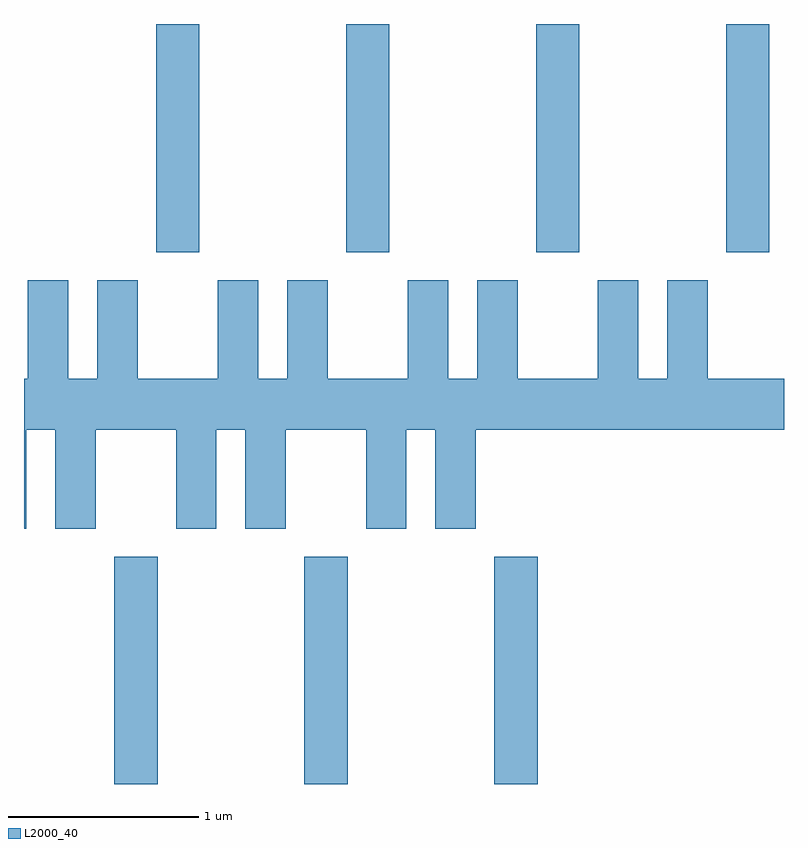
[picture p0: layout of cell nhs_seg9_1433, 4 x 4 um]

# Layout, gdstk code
import gdstk
lib = gdstk.Library(unit=1e-6, precision=1e-09)
def R(c, l, rs):  # rectangles x0, y0, x1, y1
    for r in rs: c.add(gdstk.rectangle(r[:2], r[2:], *l))
def A(c, l, x, y, w, h, nx, ny, dx, dy):  # array of equal rectangles
    R(c, l, [(x+i*dx, y+j*dy, x+i*dx+w, y+j*dy+h) for i in range(nx) for j in range(ny)])
def P(c, l, *ps):  # polygons
    for p in ps: c.add(gdstk.Polygon(p, *l))
L2000_40 = (2000, 40)

nhs_seg9_1433 = lib.new_cell('nhs_seg9_1433')
A(nhs_seg9_1433, L2000_40, 228.086, 1954.432, 0.228, 1.197, 3, 1, 1, 0)
A(nhs_seg9_1433, L2000_40, 228.306, 1957.231, 0.228, 1.201, 4, 1, 1, 0)
P(nhs_seg9_1433, L2000_40, [(227.624,1956.296),(227.776,1956.296),(227.776,1955.776),(227.989,1955.776),(227.989,1956.296),(228.411,1956.296),(228.411,1955.776),(228.624,1955.776),(228.624,1956.296),(228.776,1956.296),(228.776,1955.776),(228.989,1955.776),(228.989,1956.296),(229.411,1956.296),(229.411,1955.776),(229.624,1955.776),(229.624,1956.296),(229.776,1956.296),(229.776,1955.776),(229.989,1955.776),(229.989,1956.296),(231.611,1956.296),(231.611,1956.564),(231.209,1956.564),(231.209,1957.084),(230.996,1957.084),(230.996,1956.564),(230.844,1956.564),(230.844,1957.084),(230.631,1957.084),(230.631,1956.564),(230.209,1956.564),(230.209,1957.084),(229.996,1957.084),(229.996,1956.564),(229.844,1956.564),(229.844,1957.084),(229.631,1957.084),(229.631,1956.564),(229.209,1956.564),(229.209,1957.084),(228.996,1957.084),(228.996,1956.564),(228.844,1956.564),(228.844,1957.084),(228.631,1957.084),(228.631,1956.564),(228.209,1956.564),(228.209,1957.084),(227.996,1957.084),(227.996,1956.564),(227.844,1956.564),(227.844,1957.084),(227.631,1957.084),(227.631,1956.564),(227.611,1956.564),(227.611,1955.776),(227.624,1955.776)])

lib.write_gds('nhs_seg9_1433.gds')
